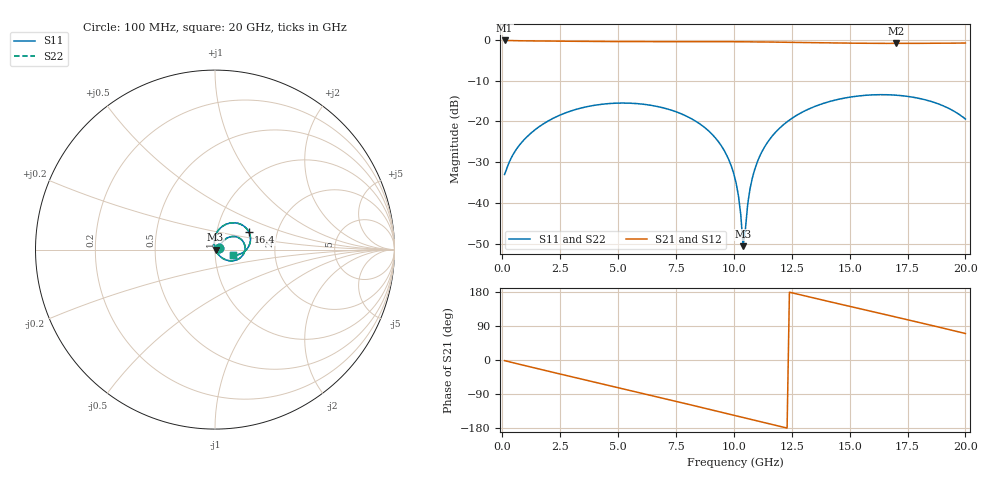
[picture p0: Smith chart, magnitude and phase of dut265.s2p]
! Touchstone file exported from HFSS 2026.1.0
!  File:  C:/ffzhzh/LocalFiles/Ansys_Project_Files/temp_train_TSV_RDL_265_1783070177_45820.aedt
!  Generated:  05:25:14 PM Jul  3, 2026
!  Design:  TSV_RDL
!  Project:  temp_train_TSV_RDL_265_1783070177_45820
! Variables:
!  h_bsmrdl = 2.13um
!  h_ox = 20um
!  h_rdl = 5um
!  h_sub = 86.7um
!  h_tmrdl = 3um
!  h_tsv = 86.7um
!  h_via = 3um
!  l_bsmrdl = 104.56um
!  l_sub = 4670.21um
!  l_tmrdl = 950.59um
!  m_sub = 200um
!  pitch = 35.31um
!  r_tsv = 13.01um
!  s_tmrdl = 10um
!  w_bsmrdl = 26.3um
!  w_sub = 500um
!  w_tmrdl = 25.09um
!  x_tsv_center1 = 963.135um
!  x_tsv_center2 = 1093.995um
!  x_tsv_center3 = 2069.675um
!  x_tsv_center4 = 2200.535um
!  x_tsv_center5 = 3176.215um
!  x_tsv_center6 = 3307.075um
# GHz S MA R 50.000000
! Terminal data exported
! Port[1] = TM_RDL1_1_T1
! Port[2] = TM_RDL5_1_T1
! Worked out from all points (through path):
!   200 points, 100 MHz to 20 GHz, reference 50 ohm
!   highest |S21| = -0.19 dB at 100 MHz (marker M1); lowest = -0.9 dB at 17 GHz (marker M2)
!   group delay of S21, straight-line fit = 40.2 ps
!   lowest |S11| = -50.5 dB at 10.4 GHz (marker M3), VSWR 1.01, Z = 50.3 - j0.0279 ohm
!   |S11| at or under -10 dB: start of sweep to end of sweep
!   |S22| runs from -51.2 to -13.5 dB; largest |S21 - S12| = 3.3e-14
!   S11 on the Smith chart (normalised r, x): 100 MHz: 1.04, +0.01; 16.4 GHz: 1.43, +0.30; 20 GHz: 1.23, -0.08
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0.1  0.02245 18.5  0.9789 -1.6  0.9789 -1.6  0.02245 18.5
! Gamma 0 0 0 0
! Port Impedance 50 0 50 0
0.6  0.04527 43.1  0.9716 -9.2  0.9716 -9.2  0.04527 43.1
1.3  0.07448 45.9  0.9663 -19.5  0.9663 -19.5  0.07448 45.9
3.5  0.1481 26.3  0.9541 -51.5  0.9541 -51.5  0.1481 26.3
5.2  0.1679 4.7  0.9479 -76.0  0.9479 -76.0  0.1679 4.7
6.8  0.15 -16.7  0.9467 -99.0  0.9467 -99.0  0.15 -16.8
9  0.07241 -46.4  0.9471 -131.1  0.9471 -131.1  0.07237 -46.6
9.7  0.0382 -54.5  0.9458 -141.4  0.9458 -141.4  0.03815 -54.9
10.1  0.01751 -55.5  0.9446 -147.3  0.9446 -147.3  0.01745 -56.3
10.3  0.007201 -45.4  0.9438 -150.2  0.9438 -150.2  0.00709 -47.2
10.4  0.002976 -5.3  0.9434 -151.7  0.9434 -151.7  0.002751 -7.1
10.6  0.00978 92.9  0.9424 -154.7  0.9424 -154.7  0.009742 94.3
10.7  0.01505 97.1  0.9419 -156.1  0.9419 -156.1  0.01503 98.0
10.9  0.02576 98.4  0.9408 -159.1  0.9408 -159.1  0.02576 99.0
11.2  0.04189 96.5  0.9389 -163.5  0.9389 -163.5  0.0419 96.8
12.1  0.08906 85.6  0.9321 -176.7  0.9321 -176.7  0.08906 85.8
13.4  0.1486 68.1  0.9204 164.4  0.9204 164.4  0.1486 68.2
16.4  0.2125 27.9  0.9017 121.8  0.9017 121.8  0.2125 27.9
16.7  0.2117 23.9  0.9013 117.6  0.9013 117.6  0.2117 23.9
17  0.2095 20.0  0.9012 113.4  0.9012 113.4  0.2094 19.9
18.7  0.169 -2.2  0.905 89.0  0.905 89.0  0.1689 -2.2
20  0.1071 -17.3  0.9095 69.9  0.9095 69.9  0.107 -17.5
